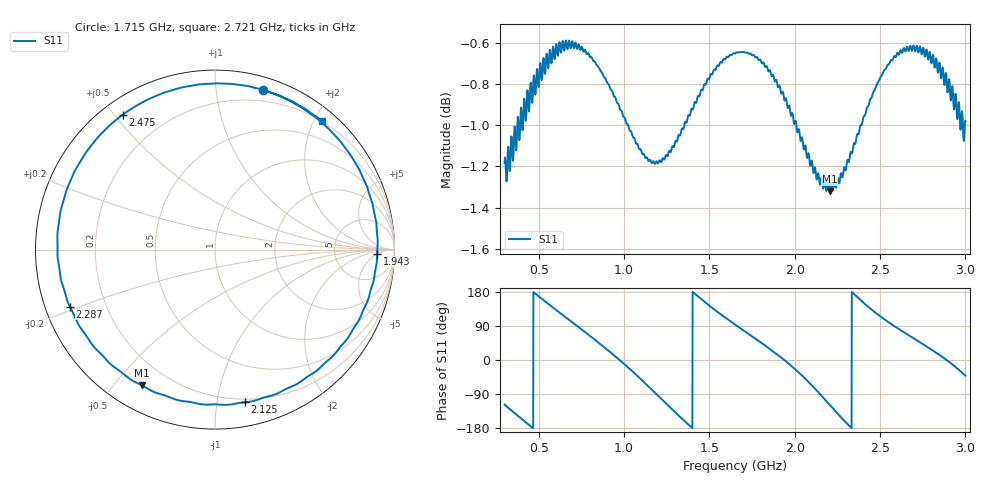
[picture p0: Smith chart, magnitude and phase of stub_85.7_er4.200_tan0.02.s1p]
! Chirptenna · simulación 3D de un stub abierto
# HZ S RI R 50
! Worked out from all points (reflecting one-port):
!   2001 points, 300 MHz to 3 GHz, reference 50 ohm
!   lowest |S11| = -1.3 dB at 2.205 GHz (marker M1), VSWR 13.17, Z = 5.15 - j29.7 ohm
!   phase of S11 starts at -118 deg and turns -1004 deg over the sweep
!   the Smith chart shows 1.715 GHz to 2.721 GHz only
!   S11 on the Smith chart (normalised r, x): 1.715 GHz: 0.10, +1.34; 1.943 GHz: 19, -5; 2.125 GHz: 0.18, -1.20; 2.287 GHz: 0.07, -0.19; 2.475 GHz: 0.06, +0.53; 2.721 GHz: 0.20, +2.12
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3e8  -0.4035 -0.7737
4.6335e8  -0.9033 -0.021
5.5245e8  -0.791 0.4739
6.375e8  -0.4643 0.8094
7.9545e8  0.3886 0.8415
8.9265e8  0.787 0.4659
9.75e8  0.8996 -0.00584
1.0614e9  0.7246 -0.5077
1.1586e9  0.2044 -0.8488
1.23285e9  -0.2855 -0.8265
1.3125e9  -0.7107 -0.5253
1.45695e9  -0.8472 0.3292
1.5555e9  -0.5174 0.7625
1.65e9  -0.058 0.926
1.7148e9  0.265 0.8896
1.84305e9  0.7714 0.4998
1.94295e9  0.9035 -0.0228
1.9875e9  0.8508 -0.2846
2.1252e9  0.165 -0.8505
2.20485e9  -0.406 -0.7568
2.2872e9  -0.8098 -0.3174
2.325e9  -0.8751 -0.0594
2.47485e9  -0.5123 0.7526
2.5653e9  -0.0786 0.9211
2.6625e9  0.3705 0.8535
2.72055e9  0.5946 0.7148
2.8758e9  0.909 0.071
3e9  0.671 -0.5898
